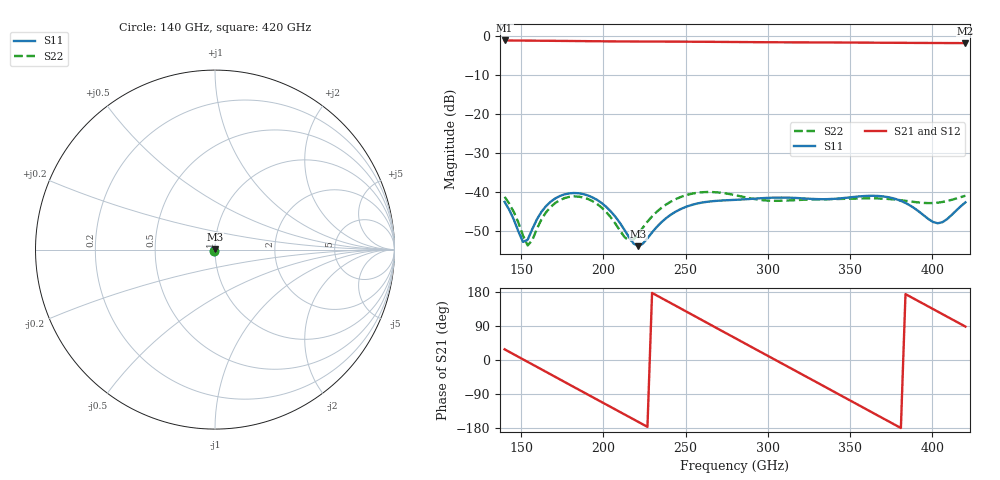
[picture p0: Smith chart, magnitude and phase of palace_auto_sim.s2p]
#  GHZ S DB R 50
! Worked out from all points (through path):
!   101 points, 140 GHz to 420 GHz, reference 50 ohm
!   highest |S21| = -1.03 dB at 140 GHz (marker M1); lowest = -1.7 dB at 420 GHz (marker M2)
!   group delay of S21, straight-line fit = 6.55 ps
!   lowest |S11| = -53.9 dB at 221.2 GHz (marker M3), VSWR 1.00, Z = 50 + j0.201 ohm
!   |S11| at or under -10 dB: start of sweep to end of sweep
!   |S22| runs from -53.7 to -40.0 dB; largest |S21 - S12| = 1e-13
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140  -42.54 -120.2  -1.03 28.2  -1.03 28.2  -41.22 -124.8
151.2  -52.82 -90.5  -1.06 1.7  -1.06 1.7  -51.21 -119.7
154  -52.26 -59.5  -1.07 -4.9  -1.07 -4.9  -53.72 -92.3
168  -42.48 -48.8  -1.12 -38.0  -1.12 -38.0  -43.82 -51.7
187.6  -40.50 -99.8  -1.20 -84.2  -1.20 -84.2  -41.37 -102.2
201.6  -43.74 -145.3  -1.25 -117.2  -1.25 -117.2  -45.06 -150.8
215.6  -51.62 144.5  -1.29 -150.0  -1.29 -150.0  -52.52 111.8
221.2  -53.91 89.9  -1.30 -163.2  -1.30 -163.2  -50.78 56.9
235.2  -47.79 -5.8  -1.32 163.8  -1.32 163.8  -44.10 -10.3
257.6  -42.89 -89.8  -1.36 110.9  -1.36 110.9  -40.15 -84.2
268.8  -42.26 -135.4  -1.39 84.4  -1.39 84.4  -40.07 -124.8
280  -42.01 174.7  -1.42 58.0  -1.42 58.0  -40.79 -171.0
294  -41.64 109.6  -1.47 25.0  -1.47 25.0  -41.94 121.7
305.2  -41.42 58.0  -1.49 -1.4  -1.49 -1.4  -42.26 63.3
327.6  -41.78 -44.8  -1.53 -54.1  -1.53 -54.1  -41.90 -46.4
338.8  -41.78 -96.3  -1.55 -80.5  -1.55 -80.5  -41.81 -97.2
350  -41.36 -145.4  -1.57 -106.9  -1.57 -106.9  -41.71 -147.0
364  -40.96 158.3  -1.60 -139.9  -1.60 -139.9  -41.63 151.1
375.2  -41.51 115.4  -1.63 -166.3  -1.63 -166.3  -41.85 100.8
389.2  -44.22 57.1  -1.66 160.7  -1.66 160.7  -42.56 33.5
403.2  -48.03 -34.5  -1.68 127.8  -1.68 127.8  -42.73 -41.5
420  -42.65 -141.0  -1.71 88.2  -1.71 88.2  -40.94 -126.5
